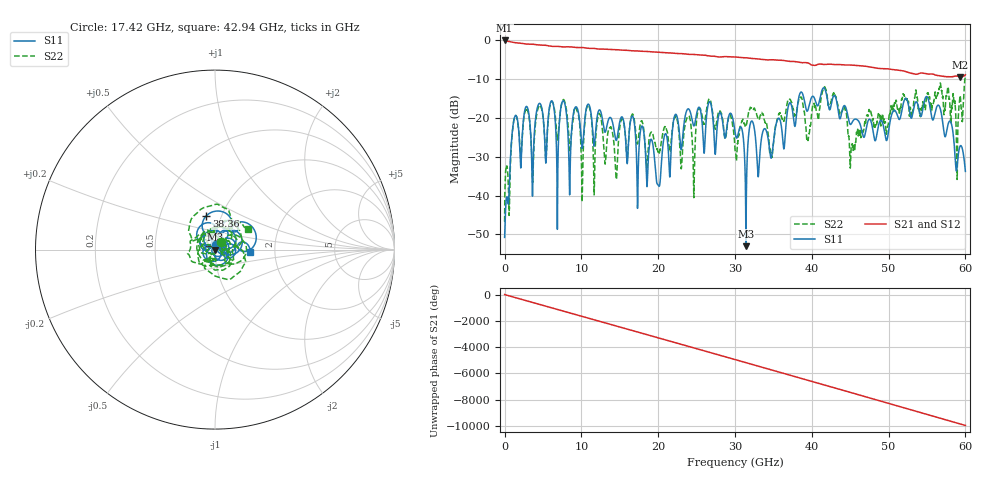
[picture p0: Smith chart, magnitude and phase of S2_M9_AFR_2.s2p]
!Agilent Technologies,N5224A,MY56041957,A.10.60.03
!Automatic Fixture Removal (AFR)
!Date: Friday, September 15, 2017 10:02:18 AM
!S2P File: Measurements: S11,S21,S12,S22:
# MHz S  RI  R 50
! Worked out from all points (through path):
!   10000 points, 6 MHz to 60 GHz, reference 50 ohm
!   highest |S21| = -0.02 dB at 6 MHz (marker M1); lowest = -9.4 dB at 59.34 GHz (marker M2)
!   group delay of S21, straight-line fit = 461 ps
!   lowest |S11| = -53.0 dB at 31.43 GHz (marker M3), VSWR 1.00, Z = 50.2 - j0.13 ohm
!   |S11| at or under -10 dB: start of sweep to end of sweep
!   |S22| runs from -46.7 to -9.1 dB; largest |S21 - S12| = 1.4e-15
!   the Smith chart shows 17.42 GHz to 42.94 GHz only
!   S11 on the Smith chart (normalised r, x): 17.42 GHz: 1.01, +0.05; 38.36 GHz: 0.85, +0.33; 42.94 GHz: 1.48, -0.04
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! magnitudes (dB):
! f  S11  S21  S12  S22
! 6 MHz  -50.7  0.0  0.0  -46.7
! 1.398 GHz  -19.4  -0.6  -0.6  -19.4
! 3.648 GHz  -39.4  -1.0  -1.0  -36.5
! 6.162 GHz  -15.6  -1.6  -1.6  -15.8
! 6.882 GHz  -46.7  -1.5  -1.5  -25.6
! 7.698 GHz  -15.6  -1.7  -1.7  -15.3
! 10.01 GHz  -26.2  -1.8  -1.8  -31.6
! 10.87 GHz  -16.4  -2.0  -2.0  -16.7
! 11.68 GHz  -27.2  -2.1  -2.1  -39.2
! 17.42 GHz  -31.9  -2.7  -2.7  -25.2
! 20 GHz  -37.3  -3.1  -3.1  -28.7
! 22.25 GHz  -19.1  -3.4  -3.4  -19.6
! 30.01 GHz  -23.6  -4.3  -4.3  -28.1
! 31.43 GHz  -53.0  -4.5  -4.5  -22.0
! 38.36 GHz  -14.2  -5.7  -5.7  -14.7
! 40 GHz  -14.6  -6.3  -6.3  -18.6
! 42.94 GHz  -14.2  -6.2  -6.2  -13.4
! 45.19 GHz  -21.4  -6.4  -6.4  -27.1
! 50 GHz  -23.3  -7.4  -7.4  -20.9
! 54.97 GHz  -14.5  -8.6  -8.6  -14.6
! 59.34 GHz  -27.2  -9.4  -9.4  -14.5
! 60 GHz  -33.7  -8.9  -8.9  -9.1
